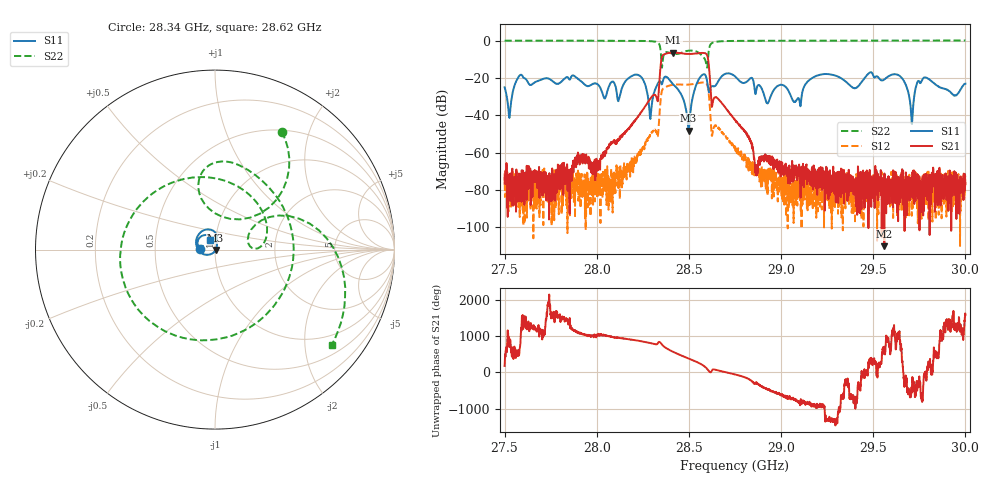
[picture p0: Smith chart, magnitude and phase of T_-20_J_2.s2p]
!Keysight Technologies,N5234A,MY55441357,A.10.47.05
!Date: Sunday, November 19, 2017 16:09:16
!Correction: S11(Full 2 Port(1,2))
!S21(Full 2 Port(1,2))
!S12(Full 2 Port(1,2))
!S22(Full 2 Port(1,2))
!S2P File: Measurements: S11, S21, S12, S22:
# Hz S  dB  R 50
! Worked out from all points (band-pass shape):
!   2501 points, 27.5 GHz to 30 GHz, reference 50 ohm
!   highest |S21| = -6.39 dB at 28.42 GHz (marker M1); lowest = -110.2 dB at 29.56 GHz (marker M2)
!   |S21| within 3 dB of the highest: 28.35 GHz to 28.6 GHz (250.9 MHz wide, 0.881 % of centre)
!   lowest |S11| = -48.2 dB at 28.5 GHz (marker M3), VSWR 1.01, Z = 50.4 - j0.169 ohm
!   |S11| at or under -10 dB: start of sweep to end of sweep
!   |S22| runs from -14.5 to 0.1 dB; largest |S21 - S12| = 0.49
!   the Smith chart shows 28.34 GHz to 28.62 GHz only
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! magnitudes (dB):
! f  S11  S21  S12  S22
! 27.5 GHz  -25.1  -76.7  -71.2  0.0
! 27.53 GHz  -41.4  -71.5  -76.7  0.0
! 27.59 GHz  -18.4  -81.1  -84.4  0.0
! 27.92 GHz  -22.0  -64.0  -72.2  0.0
! 28 GHz  -23.0  -69.0  -82.1  0.0
! 28.23 GHz  -18.4  -40.7  -62.4  -0.1
! 28.29 GHz  -42.0  -31.1  -50.1  -0.3
! 28.33 GHz  -22.5  -30.4  -49.1  -1.2
! 28.36 GHz  -21.5  -7.7  -25.9  -9.8
! 28.42 GHz  -23.6  -6.4  -23.7  -7.0
! 28.5 GHz  -48.2  -7.1  -23.6  -5.4
! 28.57 GHz  -18.8  -6.6  -22.5  -7.7
! 28.63 GHz  -24.4  -32.8  -48.3  -1.0
! 28.75 GHz  -19.2  -42.6  -57.9  -0.1
! 28.86 GHz  -27.4  -67.2  -69.2  -0.1
! 29.1 GHz  -31.2  -69.3  -76.8  0.0
! 29.17 GHz  -20.2  -68.5  -74.0  0.0
! 29.56 GHz  -20.8  -110.2  -88.7  0.0
! 29.58 GHz  -19.0  -83.5  -79.5  0.0
! 29.71 GHz  -44.4  -73.3  -93.9  0.0
! 29.78 GHz  -19.8  -71.6  -73.0  0.1
! 30 GHz  -23.1  -76.3  -72.5  0.1
